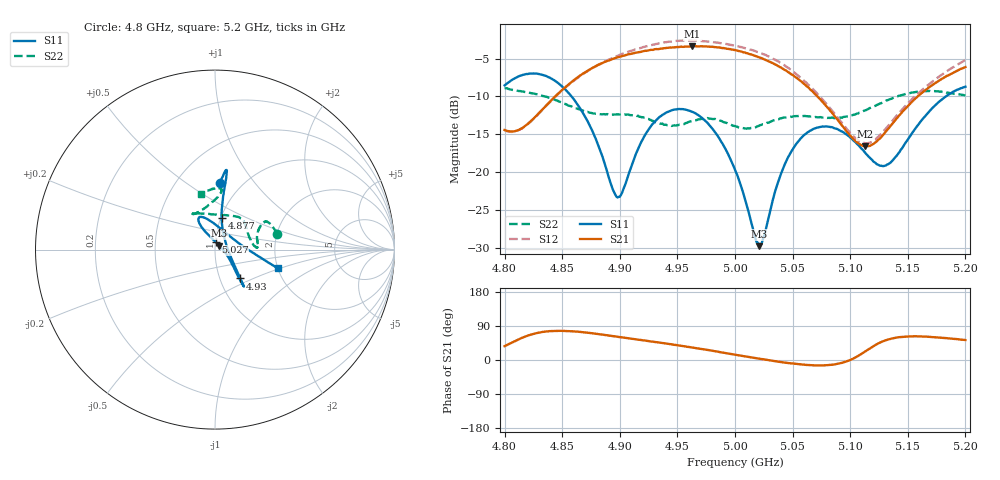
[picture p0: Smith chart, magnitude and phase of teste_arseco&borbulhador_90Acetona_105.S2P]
! Network Analyzer HP8722D
! Hewlett-Packard
! Data name: Linha & Wilkinson
! Saver's name: Rodrigo Anjos
! Comments: Teste da utilização de aquisição
! continua pelo VNA HP8722D
! Time and date: 17/4/2025 11:55
!  Frequency  S11  S21  S12  S22
# HZ  S  MA R 50
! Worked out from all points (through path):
!   401 points, 4.8 GHz to 5.2 GHz, reference 50 ohm
!   highest |S21| = -3.37 dB at 4.963 GHz (marker M1); lowest = -16.6 dB at 5.113 GHz (marker M2)
!   lowest |S11| = -29.7 dB at 5.021 GHz (marker M3), VSWR 1.07, Z = 52.4 + j2.3 ohm
!   |S11| at or under -10 dB: 4.858 GHz to 5.183 GHz (324.8 MHz wide, 6.47 % of centre)
!   |S22| runs from -14.2 to -8.9 dB; largest |S21 - S12| = 0.23
!   S11 on the Smith chart (normalised r, x): 4.8 GHz: 0.79, +0.69; 4.877 GHz: 1.01, +0.37; 4.93 GHz: 1.25, -0.42; 5.027 GHz: 1.00, +0.09; 5.2 GHz: 2.00, -0.49
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4.8e9  0.3742 86.1  0.1902 36.7  0.19 -3.0  0.3561 14.1
4.814e9  0.4336 82.8  0.1938 57.0  0.1928 18.1  0.3429 23.5
4.834e9  0.4359 81.3  0.2654 74.4  0.2639 37.8  0.3179 29.3
4.867e9  0.2534 80.9  0.4418 73.6  0.438 43.6  0.2563 21.9
4.877e9  0.1815 78.1  0.4911 70.1  0.4892 42.6  0.2444 17.0
4.894e9  0.07691 44.3  0.5597 63.1  0.5693 40.3  0.2403 8.8
4.899e9  0.06893 15.1  0.5742 60.7  0.5895 39.5  0.2409 7.0
4.917e9  0.1494 -40.8  0.62 53.3  0.6562 35.6  0.2324 3.0
4.93e9  0.2142 -48.7  0.6458 47.6  0.6949 32.0  0.2163 6.7
4.934e9  0.2301 -50.0  0.6492 46.0  0.7079 30.8  0.2108 9.4
4.963e9  0.2503 -51.7  0.6786 32.9  0.7376 19.9  0.2184 39.1
4.983e9  0.1828 -47.9  0.6679 23.1  0.7172 12.0  0.2246 54.3
5e9  0.104 -35.5  0.6394 14.0  0.6843 5.8  0.202 71.8
5.021e9  0.03266 42.2  0.573 3.5  0.6169 -2.2  0.2029 101.3
5.027e9  0.04293 85.3  0.5493 0.4  0.5923 -4.3  0.21 107.9
5.045e9  0.1208 119.3  0.465 -7.6  0.4947 -10.8  0.231 119.3
5.067e9  0.1913 119.0  0.3432 -13.8  0.3575 -13.5  0.2337 121.6
5.089e9  0.1927 110.3  0.2221 -10.1  0.2306 -5.8  0.2282 112.7
5.113e9  0.1347 86.2  0.1484 22.5  0.1556 30.1  0.2564 96.2
5.134e9  0.1144 35.1  0.198 55.0  0.2066 65.3  0.3023 85.6
5.172e9  0.2681 -10.9  0.3792 60.5  0.3998 78.6  0.3431 87.9
5.2e9  0.3666 -16.7  0.4938 52.6  0.5494 76.4  0.3207 104.5
